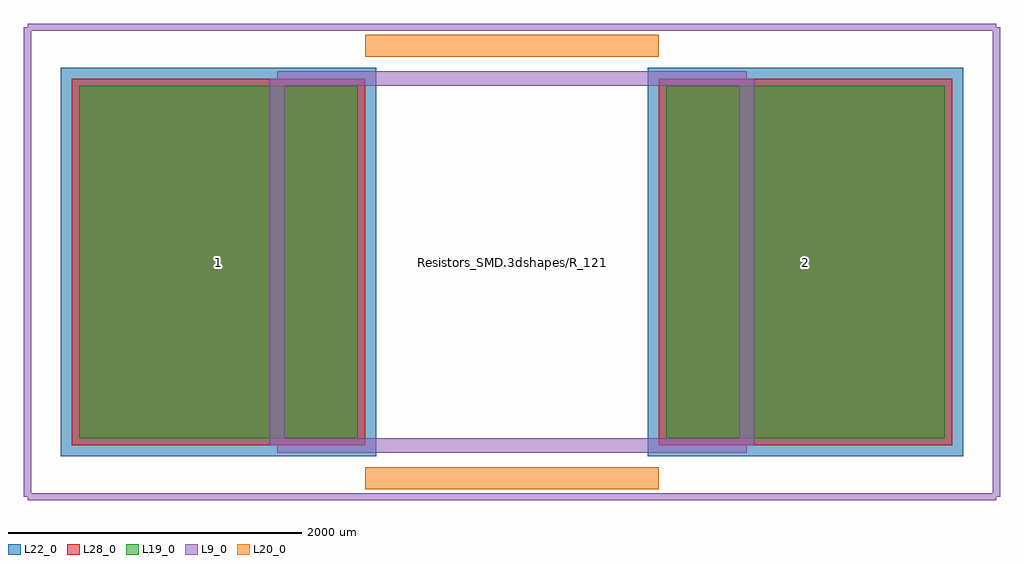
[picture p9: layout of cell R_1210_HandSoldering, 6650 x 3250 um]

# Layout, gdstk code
import gdstk
lib = gdstk.Library(unit=1e-6, precision=1e-09)
def R(c, l, rs):  # rectangles x0, y0, x1, y1
    for r in rs: c.add(gdstk.rectangle(r[:2], r[2:], *l))
L9_0 = (9, 0)
L19_0 = (19, 0)
L20_0 = (20, 0)
L22_0 = (22, 0)
L28_0 = (28, 0)

r_1210_handsoldering = lib.new_cell('R_1210_HandSoldering')
R(r_1210_handsoldering, L19_0, [(-2950,-1200,-1050,1200), (1050,-1200,2950,1200)])
R(r_1210_handsoldering, L22_0, [(-3075,-1325,-925,1325), (925,-1325,3075,1325)])
R(r_1210_handsoldering, L28_0, [(-3000,-1250,-1000,1250), (1000,-1250,3000,1250)])
r_1210_handsoldering.add(gdstk.FlexPath([(-1000,1475),(1000,1475)], 149.998, ends="flush", simple_path=True, layer=20, datatype=0))  # L20_0
r_1210_handsoldering.add(gdstk.FlexPath([(1000,-1475),(-1000,-1475)], 149.998, ends="flush", simple_path=True, layer=20, datatype=0))  # L20_0
r_1210_handsoldering.add(gdstk.FlexPath([(3300,1600),(3300,-1600)], 50, ends="flush", simple_path=True, layer=9, datatype=0))  # L9_0
r_1210_handsoldering.add(gdstk.FlexPath([(-3300,1600),(-3300,-1600)], 50, ends="flush", simple_path=True, layer=9, datatype=0))  # L9_0
r_1210_handsoldering.add(gdstk.FlexPath([(-3300,-1600),(3300,-1600)], 50, ends="flush", simple_path=True, layer=9, datatype=0))  # L9_0
r_1210_handsoldering.add(gdstk.FlexPath([(-3300,1600),(3300,1600)], 50, ends="flush", simple_path=True, layer=9, datatype=0))  # L9_0
r_1210_handsoldering.add(gdstk.FlexPath([(-1600,1250),(1600,1250)], 100, ends="flush", simple_path=True, layer=9, datatype=0))  # L9_0
r_1210_handsoldering.add(gdstk.FlexPath([(1600,1250),(1600,-1250)], 100, ends="flush", simple_path=True, layer=9, datatype=0))  # L9_0
r_1210_handsoldering.add(gdstk.FlexPath([(1600,-1250),(-1600,-1250)], 100, ends="flush", simple_path=True, layer=9, datatype=0))  # L9_0
r_1210_handsoldering.add(gdstk.FlexPath([(-1600,-1250),(-1600,1250)], 100, ends="flush", simple_path=True, layer=9, datatype=0))  # L9_0
r_1210_handsoldering.add(gdstk.Label('Resistors_SMD.3dshapes/R_1210_HandSoldering.wrl', (0,0), layer=12, texttype=0))
r_1210_handsoldering.add(gdstk.Label('2', (2000,0), layer=28, texttype=0))
r_1210_handsoldering.add(gdstk.Label('1', (-2000,0), layer=28, texttype=0))
r_1210_handsoldering.add(gdstk.Label('type', (0,-2700), layer=9, texttype=0))
r_1210_handsoldering.add(gdstk.Label('devicename', (0,2700), layer=9, texttype=0))

lib.write_gds('R_1210_HandSoldering.gds')
